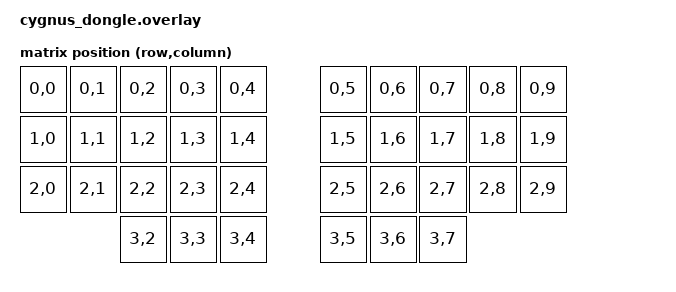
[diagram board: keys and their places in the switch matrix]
#include <dt-bindings/zmk/matrix_transform.h>
#include "cygnus_layout.dtsi"

/ {
    chosen {
        zmk,kscan = &mock_kscan;
        /* no zmk,matrix-transform chosen here on purpose - see cygnus.dtsi.
         * ZMK Studio runs on the central, which is this dongle build, so this
         * is the one of the three shields where the physical layout actually
         * has to be reachable for Studio to show anything. */
        zmk,physical-layout = &cygnus_layout;
    };

    default_transform: keymap_transform_0 {
        compatible = "zmk,matrix-transform";
		columns = <10>;
		rows = <4>;
        row-offset = <4>;
		map = <
				RC(0,0) RC(0,1) RC(0,2) RC(0,3) RC(0,4)         RC(0,5) RC(0,6) RC(0,7) RC(0,8) RC(0,9)
				RC(1,0) RC(1,1) RC(1,2) RC(1,3) RC(1,4)         RC(1,5) RC(1,6) RC(1,7) RC(1,8) RC(1,9)
				RC(2,0) RC(2,1) RC(2,2) RC(2,3) RC(2,4)         RC(2,5) RC(2,6) RC(2,7) RC(2,8) RC(2,9)
								RC(3,2) RC(3,3) RC(3,4)         RC(3,5) RC(3,6) RC(3,7)
		>;
    };

    mock_kscan: kscan_0 {
        compatible = "zmk,kscan-mock";
        columns = <0>;
        rows = <0>;
        events = <0>;
    };
};

/ {  
	chosen {  
       zmk,backlight = &lcd_backlight;  
    };  
};
